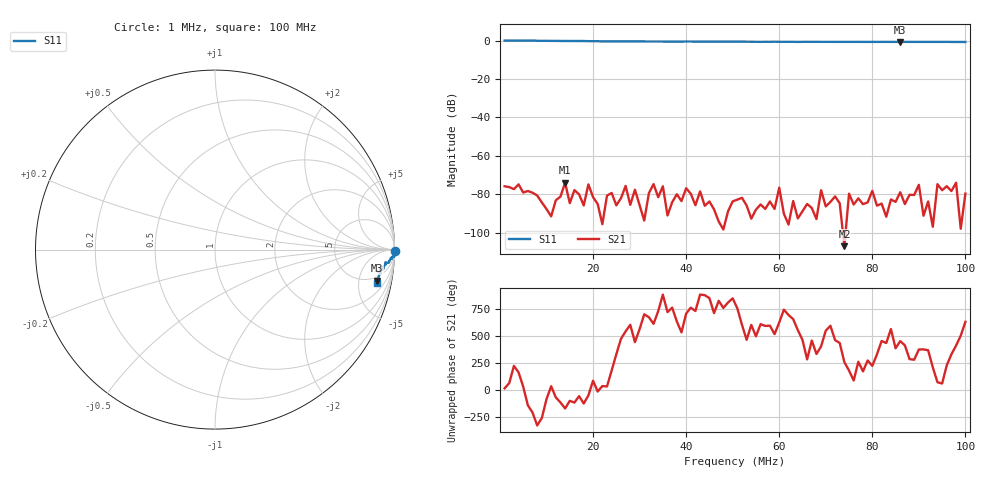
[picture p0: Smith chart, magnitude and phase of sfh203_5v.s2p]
# HZ S RI R 50
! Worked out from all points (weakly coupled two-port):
!   100 points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, 1 MHz to 100 MHz, reference 50 ohm
!   highest |S21| = -73.93 dB at 14 MHz (marker M1); lowest = -106.9 dB at 74 MHz (marker M2)
!   lowest |S11| = -0.8 dB at 86 MHz (marker M3), VSWR 22.97, Z = 201 - j434 ohm
!   |S11| at or under -10 dB: nowhere
!   S12 and S22 are empty: the file has one direction only
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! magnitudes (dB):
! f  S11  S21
! 1 MHz  0.0  -75.8
! 13 MHz  -0.2  -81.1
! 14 MHz  -0.2  -73.9
! 15 MHz  -0.2  -84.6
! 18 MHz  -0.2  -85.8
! 19 MHz  -0.3  -74.8
! 20 MHz  -0.3  -81.4
! 27 MHz  -0.4  -75.6
! 31 MHz  -0.5  -93.6
! 33 MHz  -0.5  -74.7
! 34 MHz  -0.5  -81.5
! 35 MHz  -0.5  -75.8
! 51 MHz  -0.6  -82.7
! 67 MHz  -0.7  -87.1
! 74 MHz  -0.7  -106.9
! 84 MHz  -0.7  -82.6
! 86 MHz  -0.8  -78.9
! 90 MHz  -0.7  -75.0
! 93 MHz  -0.7  -96.8
! 94 MHz  -0.7  -74.7
! 98 MHz  -0.7  -73.9
! 100 MHz  -0.7  -79.6
